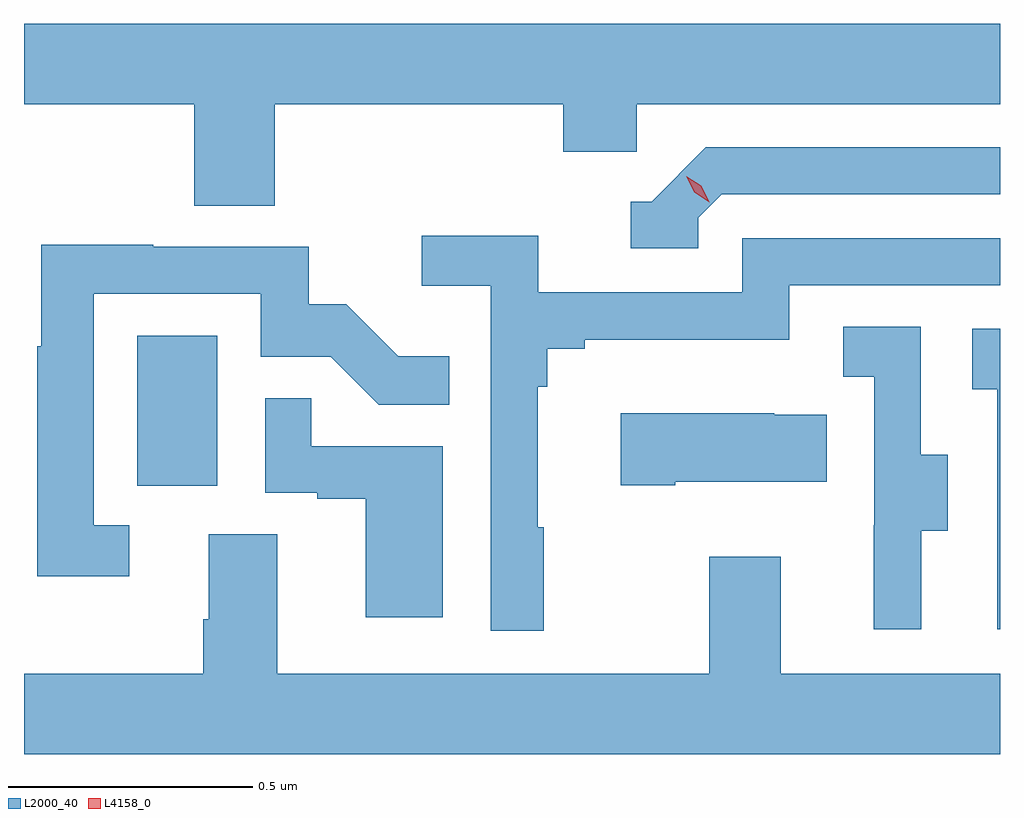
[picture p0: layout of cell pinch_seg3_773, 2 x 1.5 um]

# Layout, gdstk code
import gdstk
lib = gdstk.Library(unit=1e-6, precision=1e-09)
def R(c, l, rs):  # rectangles x0, y0, x1, y1
    for r in rs: c.add(gdstk.rectangle(r[:2], r[2:], *l))
def P(c, l, *ps):  # polygons
    for p in ps: c.add(gdstk.Polygon(p, *l))
L2000_40 = (2000, 40)
L4158_0 = (4158, 0)

pinch_seg3_773 = lib.new_cell('pinch_seg3_773')
R(pinch_seg3_773, L2000_40, [(855.296,734.766,855.46,735.073)])
P(pinch_seg3_773, L2000_40, [(855.578,735.548),(856.169,735.548),(856.169,735.45),(856.32,735.45),(856.32,735.548),(857.064,735.548),(857.064,735.712),(855.064,735.712),(855.064,735.548),(855.413,735.548),(855.413,735.34),(855.578,735.34)],
  [(856.446,735.315),(856.494,735.363),(857.064,735.363),(857.064,735.459),(856.461,735.459),(856.35,735.348),(856.307,735.348),(856.307,735.252),(856.446,735.252)],
  [(856.129,734.681),(856.117,734.681),(856.117,734.969),(856.136,734.969),(856.136,735.046),(856.213,735.046),(856.213,735.065),(856.632,735.065),(856.632,735.177),(857.064,735.177),(857.064,735.273),(856.536,735.273),(856.536,735.162),(856.118,735.162),(856.118,735.278),(855.879,735.278),(855.879,735.176),(856.02,735.176),(856.02,734.469),(856.129,734.469)],
  [(855.28,734.685),(855.207,734.685),(855.207,735.159),(855.549,735.159),(855.549,735.03),(855.693,735.03),(855.791,734.932),(855.935,734.932),(855.935,735.031),(855.831,735.031),(855.724,735.138),(855.648,735.138),(855.648,735.255),(855.329,735.255),(855.329,735.26),(855.099,735.26),(855.099,735.052),(855.091,735.052),(855.091,734.58),(855.28,734.58)],
  [(856.903,734.674),(856.957,734.674),(856.957,734.829),(856.902,734.829),(856.902,735.092),(856.743,735.092),(856.743,734.989),(856.806,734.989),(856.806,734.685),(856.805,734.685),(856.805,734.472),(856.903,734.472)],
  [(857.064,735.087),(857.007,735.087),(857.007,734.963),(857.058,734.963),(857.058,734.472),(857.064,734.472)],
  [(855.922,734.847),(855.653,734.847),(855.653,734.945),(855.558,734.945),(855.558,734.751),(855.665,734.751),(855.665,734.739),(855.764,734.739),(855.764,734.496),(855.922,734.496)],
  [(856.399,734.774),(856.709,734.774),(856.709,734.911),(856.601,734.911),(856.601,734.914),(856.287,734.914),(856.287,734.767),(856.399,734.767)],
  [(857.064,734.38),(856.615,734.38),(856.615,734.62),(856.468,734.62),(856.468,734.38),(855.583,734.38),(855.583,734.666),(855.443,734.666),(855.443,734.492),(855.431,734.492),(855.431,734.38),(855.064,734.38),(855.064,734.216),(857.064,734.216)])
P(pinch_seg3_773, L4158_0, [(856.468,735.347),(856.437,735.367),(856.421,735.4),(856.421,735.4),(856.421,735.4),(856.452,735.38),(856.468,735.348),(856.468,735.347)])

lib.write_gds('pinch_seg3_773.gds')
